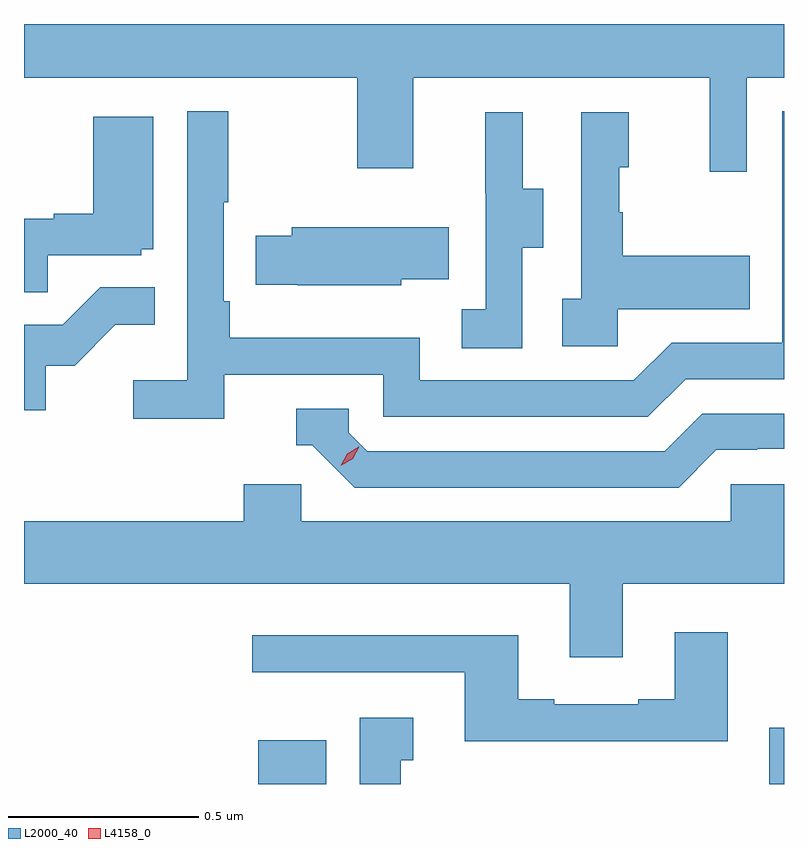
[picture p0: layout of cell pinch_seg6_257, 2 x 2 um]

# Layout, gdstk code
import gdstk
lib = gdstk.Library(unit=1e-6, precision=1e-09)
def R(c, l, rs):  # rectangles x0, y0, x1, y1
    for r in rs: c.add(gdstk.rectangle(r[:2], r[2:], *l))
def P(c, l, *ps):  # polygons
    for p in ps: c.add(gdstk.Polygon(p, *l))
L2000_40 = (2000, 40)
L4158_0 = (4158, 0)

pinch_seg6_257 = lib.new_cell('pinch_seg6_257')
R(pinch_seg6_257, L2000_40, [(1133.486,921.501,1133.665,921.616), (1134.83,921.501,1134.869,921.649)])
P(pinch_seg6_257, L2000_40, [(1134.771,923.36),(1134.869,923.36),(1134.869,923.501),(1132.869,923.501),(1132.869,923.36),(1133.746,923.36),(1133.746,923.121),(1133.893,923.121),(1133.893,923.36),(1134.674,923.36),(1134.674,923.112),(1134.771,923.112)],
  [(1133.396,922.578),(1133.814,922.578),(1133.814,922.467),(1134.511,922.467),(1134.61,922.566),(1134.869,922.566),(1134.869,923.271),(1134.864,923.271),(1134.864,922.662),(1134.573,922.662),(1134.474,922.563),(1133.91,922.563),(1133.91,922.675),(1133.411,922.675),(1133.411,922.771),(1133.394,922.771),(1133.394,923.032),(1133.407,923.032),(1133.407,923.272),(1133.298,923.272),(1133.298,922.564),(1133.157,922.564),(1133.157,922.462),(1133.396,922.462)],
  [(1134.432,922.751),(1134.779,922.751),(1134.779,922.891),(1134.445,922.891),(1134.445,923.006),(1134.435,923.006),(1134.435,923.124),(1134.46,923.124),(1134.46,923.269),(1134.336,923.269),(1134.336,922.778),(1134.285,922.778),(1134.285,922.653),(1134.432,922.653)],
  [(1134.18,922.912),(1134.235,922.912),(1134.235,923.067),(1134.181,923.067),(1134.181,923.269),(1134.083,923.269),(1134.083,923.055),(1134.084,923.055),(1134.084,922.751),(1134.021,922.751),(1134.021,922.648),(1134.18,922.648)],
  [(1132.931,922.893),(1133.178,922.893),(1133.178,922.908),(1133.209,922.908),(1133.209,923.257),(1133.051,923.257),(1133.051,923.002),(1132.947,923.002),(1132.947,922.989),(1132.869,922.989),(1132.869,922.795),(1132.931,922.795)],
  [(1133.862,922.829),(1133.987,922.829),(1133.987,922.966),(1133.573,922.966),(1133.573,922.944),(1133.479,922.944),(1133.479,922.815),(1133.59,922.815),(1133.59,922.814),(1133.862,922.814)],
  [(1132.926,922.602),(1133.002,922.602),(1133.109,922.709),(1133.213,922.709),(1133.213,922.808),(1133.069,922.808),(1132.971,922.71),(1132.869,922.71),(1132.869,922.485),(1132.926,922.485)],
  [(1134.691,922.38),(1134.798,922.38),(1134.798,922.383),(1134.869,922.383),(1134.869,922.476),(1134.654,922.476),(1134.555,922.377),(1133.772,922.377),(1133.724,922.425),(1133.724,922.488),(1133.585,922.488),(1133.585,922.392),(1133.628,922.392),(1133.739,922.281),(1134.592,922.281)],
  [(1134.445,922.028),(1134.869,922.028),(1134.869,922.29),(1134.729,922.29),(1134.729,922.192),(1133.598,922.192),(1133.598,922.29),(1133.447,922.29),(1133.447,922.192),(1132.869,922.192),(1132.869,922.028),(1134.305,922.028),(1134.305,921.834),(1134.445,921.834)],
  [(1134.721,921.901),(1134.581,921.901),(1134.581,921.724),(1134.485,921.724),(1134.485,921.711),(1134.265,921.711),(1134.265,921.724),(1134.169,921.724),(1134.169,921.892),(1133.469,921.892),(1133.469,921.795),(1134.029,921.795),(1134.029,921.614),(1134.721,921.614)],
  [(1133.86,921.563),(1133.893,921.563),(1133.893,921.676),(1133.753,921.676),(1133.753,921.501),(1133.86,921.501)])
P(pinch_seg6_257, L4158_0, [(1133.702,922.338),(1133.702,922.338),(1133.719,922.37),(1133.75,922.389),(1133.751,922.389),(1133.751,922.389),(1133.734,922.357),(1133.702,922.338)])

lib.write_gds('pinch_seg6_257.gds')
